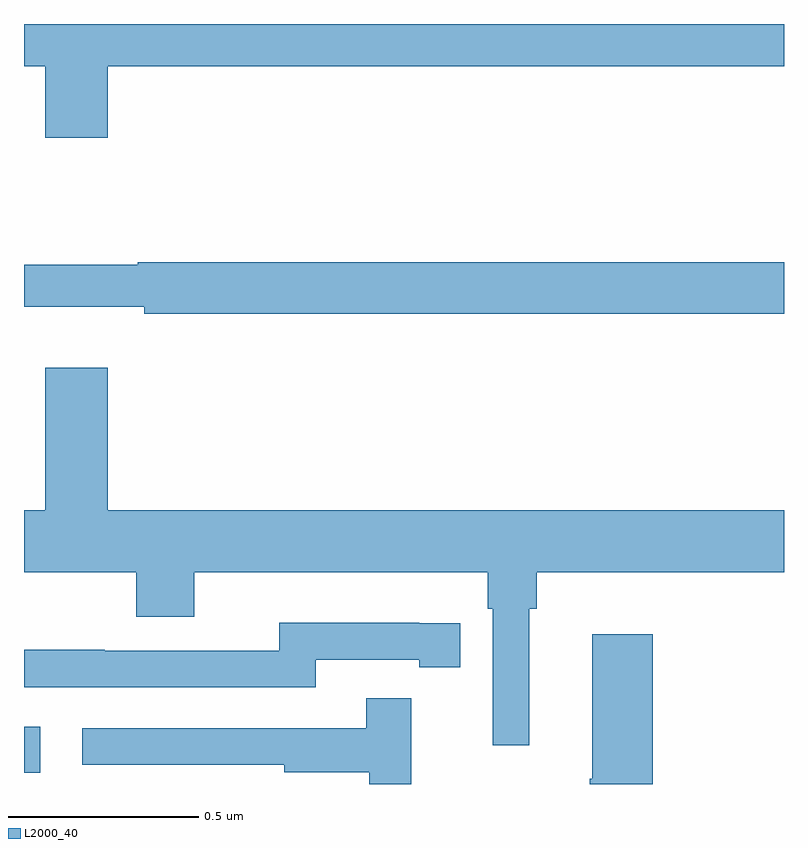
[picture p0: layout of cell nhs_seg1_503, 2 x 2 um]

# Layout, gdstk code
import gdstk
lib = gdstk.Library(unit=1e-6, precision=1e-09)
def R(c, l, rs):  # rectangles x0, y0, x1, y1
    for r in rs: c.add(gdstk.rectangle(r[:2], r[2:], *l))
def P(c, l, *ps):  # polygons
    for p in ps: c.add(gdstk.Polygon(p, *l))
L2000_40 = (2000, 40)

nhs_seg1_503 = lib.new_cell('nhs_seg1_503')
R(nhs_seg1_503, L2000_40, [(117,527.229,117.043,527.35)])
P(nhs_seg1_503, L2000_40, [(117.22,529.088),(119,529.088),(119,529.199),(117,529.199),(117,529.088),(117.056,529.088),(117.056,528.9),(117.22,528.9)],
  [(119,528.572),(117.299,528.572),(117.299,528.565),(117,528.565),(117,528.455),(117.316,528.455),(117.316,528.436),(119,528.436)],
  [(118.33,527.66),(118.349,527.66),(118.349,527.756),(119,527.756),(119,527.92),(117.22,527.92),(117.22,528.295),(117.056,528.295),(117.056,527.92),(117,527.92),(117,527.756),(117.296,527.756),(117.296,527.639),(117.448,527.639),(117.448,527.756),(118.22,527.756),(118.22,527.66),(118.233,527.66),(118.233,527.301),(118.33,527.301)],
  [(117.768,527.526),(118.04,527.526),(118.04,527.506),(118.148,527.506),(118.148,527.622),(118.04,527.622),(118.04,527.623),(117.672,527.623),(117.672,527.55),(117.212,527.55),(117.212,527.552),(117,527.552),(117,527.454),(117.768,527.454)],
  [(118.655,527.593),(118.496,527.593),(118.496,527.213),(118.489,527.213),(118.489,527.199),(118.655,527.199)],
  [(118.019,527.425),(117.901,527.425),(117.901,527.346),(117.153,527.346),(117.153,527.25),(117.685,527.25),(117.685,527.23),(117.909,527.23),(117.909,527.199),(118.019,527.199)])

lib.write_gds('nhs_seg1_503.gds')
